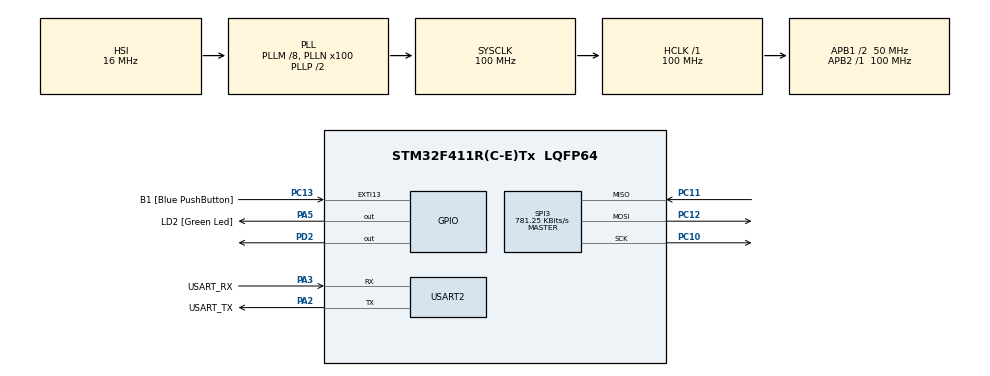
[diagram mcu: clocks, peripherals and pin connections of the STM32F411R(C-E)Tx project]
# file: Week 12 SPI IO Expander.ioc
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Mcu.Family=STM32F4
Mcu.Name=STM32F411R(C-E)Tx
Mcu.Package=LQFP64
NVIC.PriorityGroup=NVIC_PRIORITYGROUP_0
NVIC.SPI3_IRQn=true\:0\:0\:false\:false\:true\:true\:true\:true
PA13.GPIO_Label=TMS
PA13.Mode=Serial_Wire
PA13.Signal=SYS_JTMS-SWDIO
PA14.GPIO_Label=TCK
PA14.Mode=Serial_Wire
PA14.Signal=SYS_JTCK-SWCLK
PA2.GPIO_Label=USART_TX
PA2.Mode=Asynchronous
PA2.Signal=USART2_TX
PA3.GPIO_Label=USART_RX
PA3.Mode=Asynchronous
PA3.Signal=USART2_RX
PA5.GPIO_Label=LD2 [Green Led]
PA5.Signal=GPIO_Output
PB3.GPIO_Label=SWO
PB3.Signal=SYS_JTDO-SWO
PC10.Mode=Full_Duplex_Master
PC10.Signal=SPI3_SCK
PC11.Mode=Full_Duplex_Master
PC11.Signal=SPI3_MISO
PC12.Mode=Full_Duplex_Master
PC12.Signal=SPI3_MOSI
PC13-ANTI_TAMP.GPIO_Label=B1 [Blue PushButton]
PC13-ANTI_TAMP.GPIO_ModeDefaultEXTI=GPIO_MODE_IT_FALLING
PC13-ANTI_TAMP.Signal=GPXTI13
PC14-OSC32_IN.Mode=LSE-External-Oscillator
PC14-OSC32_IN.Signal=RCC_OSC32_IN
PC15-OSC32_OUT.Mode=LSE-External-Oscillator
PC15-OSC32_OUT.Signal=RCC_OSC32_OUT
PD2.Signal=GPIO_Output
PH0\ -\ OSC_IN.Mode=HSE-External-Clock-Source
PH0\ -\ OSC_IN.Signal=RCC_OSC_IN
PH1\ -\ OSC_OUT.Mode=HSE-External-Clock-Source
PH1\ -\ OSC_OUT.Signal=RCC_OSC_OUT
ProjectManager.HeapSize=0x200
ProjectManager.StackSize=0x400
ProjectManager.TargetToolchain=STM32CubeIDE
RCC.48MHZClocksFreq_Value=50000000
RCC.AHBFreq_Value=100000000
RCC.APB1CLKDivider=RCC_HCLK_DIV2
RCC.APB1Freq_Value=50000000
RCC.APB1TimFreq_Value=100000000
RCC.APB2Freq_Value=100000000
RCC.APB2TimFreq_Value=100000000
RCC.CortexFreq_Value=100000000
RCC.FLatency-AdvancedSettings=FLASH_LATENCY_3
RCC.HCLKFreq_Value=100000000
RCC.HSE_VALUE=8000000
RCC.HSI_VALUE=16000000
RCC.PLLM=8
RCC.PLLN=100
RCC.SYSCLKFreq_VALUE=100000000
RCC.SYSCLKSource=RCC_SYSCLKSOURCE_PLLCLK
RCC.VCOOutputFreq_Value=200000000
SPI3.BaudRatePrescaler=SPI_BAUDRATEPRESCALER_64
SPI3.CLKPhase=SPI_PHASE_2EDGE
SPI3.CLKPolarity=SPI_POLARITY_HIGH
SPI3.CalculateBaudRate=781.25 KBits/s
SPI3.Direction=SPI_DIRECTION_2LINES
SPI3.Mode=SPI_MODE_MASTER
SPI3.VirtualType=VM_MASTER
USART2.VirtualMode=VM_ASYNC
board=NUCLEO-F411RE

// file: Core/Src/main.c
/* USER CODE BEGIN Header */
/**
 ******************************************************************************
 * @file           : main.c
 * @brief          : Main program body
 ******************************************************************************
 * @attention
 *
 * Copyright (c) 2023 STMicroelectronics.
 * All rights reserved.
 *
 * This software is licensed under terms that can be found in the LICENSE file
 * in the root directory of this software component.
 * If no LICENSE file comes with this software, it is provided AS-IS.
 *
 ******************************************************************************
 */
/* USER CODE END Header */
#include "main.h"

SPI_HandleTypeDef hspi3;

UART_HandleTypeDef huart2;

/* USER CODE BEGIN PV */

uint8_t SPIRx[10];
uint8_t SPITx[10];

/* USER CODE END PV */

void SystemClock_Config(void);
static void MX_GPIO_Init(void);
static void MX_USART2_UART_Init(void);
static void MX_SPI3_Init(void);
/* USER CODE BEGIN PFP */

void SPITxRx_Setup();
void SPITxRx_readIO_A();
void SetOutputGPIOB();
void WriteGPIOB();

/* USER CODE END PFP */

int main(void) {

	/* MCU Configuration--------------------------------------------------------*/

	/* Reset of all peripherals, Initializes the Flash interface and the Systick. */
	HAL_Init();

	/* Configure the system clock */
	SystemClock_Config();

	/* Initialize all configured peripherals */
	MX_GPIO_Init();
	MX_USART2_UART_Init();
	MX_SPI3_Init();
	/* USER CODE BEGIN 2 */

	SPITxRx_Setup();
	SetOutputGPIOB();

	/* USER CODE END 2 */

	/* Infinite loop */
	/* USER CODE BEGIN WHILE */
	while (1) {
		static uint32_t timestamp = 0;
		if (HAL_GetTick() >= timestamp) {
			timestamp = HAL_GetTick() + 10;
			static uint8_t cmd = 0;
			cmd++;
			cmd = cmd % 3;
			switch (cmd) {
			case 0:
				SPITxRx_readIO_A();
				break;
			case 1:
				WriteGPIOB();
				break;
			case 2:
				SetOutputGPIOB();
				break;
			}
		}

		/* USER CODE END WHILE */

	}
}

void SystemClock_Config(void) {
	RCC_OscInitTypeDef RCC_OscInitStruct = { 0 };
	RCC_ClkInitTypeDef RCC_ClkInitStruct = { 0 };

	/** Configure the main internal regulator output voltage
	 */
	__HAL_RCC_PWR_CLK_ENABLE();
	__HAL_PWR_VOLTAGESCALING_CONFIG(PWR_REGULATOR_VOLTAGE_SCALE1);

	/** Initializes the RCC Oscillators according to the specified parameters
	 * in the RCC_OscInitTypeDef structure.
	 */
	RCC_OscInitStruct.OscillatorType = RCC_OSCILLATORTYPE_HSI;
	RCC_OscInitStruct.HSIState = RCC_HSI_ON;
	RCC_OscInitStruct.HSICalibrationValue = RCC_HSICALIBRATION_DEFAULT;
	RCC_OscInitStruct.PLL.PLLState = RCC_PLL_ON;
	RCC_OscInitStruct.PLL.PLLSource = RCC_PLLSOURCE_HSI;
	RCC_OscInitStruct.PLL.PLLM = 8;
	RCC_OscInitStruct.PLL.PLLN = 100;
	RCC_OscInitStruct.PLL.PLLP = RCC_PLLP_DIV2;
	RCC_OscInitStruct.PLL.PLLQ = 4;
	if (HAL_RCC_OscConfig(&RCC_OscInitStruct) != HAL_OK) {
		Error_Handler();
	}

	/** Initializes the CPU, AHB and APB buses clocks
	 */
	RCC_ClkInitStruct.ClockType = RCC_CLOCKTYPE_HCLK | RCC_CLOCKTYPE_SYSCLK | RCC_CLOCKTYPE_PCLK1 | RCC_CLOCKTYPE_PCLK2;
	RCC_ClkInitStruct.SYSCLKSource = RCC_SYSCLKSOURCE_PLLCLK;
	RCC_ClkInitStruct.AHBCLKDivider = RCC_SYSCLK_DIV1;
	RCC_ClkInitStruct.APB1CLKDivider = RCC_HCLK_DIV2;
	RCC_ClkInitStruct.APB2CLKDivider = RCC_HCLK_DIV1;

	if (HAL_RCC_ClockConfig(&RCC_ClkInitStruct, FLASH_LATENCY_3) != HAL_OK) {
		Error_Handler();
	}
}

static void MX_SPI3_Init(void) {

	/* SPI3 parameter configuration*/
	hspi3.Instance = SPI3;
	hspi3.Init.Mode = SPI_MODE_MASTER;
	hspi3.Init.Direction = SPI_DIRECTION_2LINES;
	hspi3.Init.DataSize = SPI_DATASIZE_8BIT;
	hspi3.Init.CLKPolarity = SPI_POLARITY_HIGH;
	hspi3.Init.CLKPhase = SPI_PHASE_2EDGE;
	hspi3.Init.NSS = SPI_NSS_SOFT;
	hspi3.Init.BaudRatePrescaler = SPI_BAUDRATEPRESCALER_64;
	hspi3.Init.FirstBit = SPI_FIRSTBIT_MSB;
	hspi3.Init.TIMode = SPI_TIMODE_DISABLE;
	hspi3.Init.CRCCalculation = SPI_CRCCALCULATION_DISABLE;
	hspi3.Init.CRCPolynomial = 10;
	if (HAL_SPI_Init(&hspi3) != HAL_OK) {
		Error_Handler();
	}

}

static void MX_USART2_UART_Init(void) {

	huart2.Instance = USART2;
	huart2.Init.BaudRate = 115200;
	huart2.Init.WordLength = UART_WORDLENGTH_8B;
	huart2.Init.StopBits = UART_STOPBITS_1;
	huart2.Init.Parity = UART_PARITY_NONE;
	huart2.Init.Mode = UART_MODE_TX_RX;
	huart2.Init.HwFlowCtl = UART_HWCONTROL_NONE;
	huart2.Init.OverSampling = UART_OVERSAMPLING_16;
	if (HAL_UART_Init(&huart2) != HAL_OK) {
		Error_Handler();
	}

}

static void MX_GPIO_Init(void) {
	GPIO_InitTypeDef GPIO_InitStruct = { 0 };

	/* GPIO Ports Clock Enable */
	__HAL_RCC_GPIOC_CLK_ENABLE();
	__HAL_RCC_GPIOH_CLK_ENABLE();
	__HAL_RCC_GPIOA_CLK_ENABLE();
	__HAL_RCC_GPIOD_CLK_ENABLE();
	__HAL_RCC_GPIOB_CLK_ENABLE();

	/*Configure GPIO pin Output Level */
	HAL_GPIO_WritePin(LD2_GPIO_Port, LD2_Pin, GPIO_PIN_RESET);

	/*Configure GPIO pin Output Level */
	HAL_GPIO_WritePin(GPIOD, GPIO_PIN_2, GPIO_PIN_RESET);

	/*Configure GPIO pin : B1_Pin */
	GPIO_InitStruct.Pin = B1_Pin;
	GPIO_InitStruct.Mode = GPIO_MODE_IT_FALLING;
	GPIO_InitStruct.Pull = GPIO_NOPULL;
	HAL_GPIO_Init(B1_GPIO_Port, &GPIO_InitStruct);

	/*Configure GPIO pin : LD2_Pin */
	GPIO_InitStruct.Pin = LD2_Pin;
	GPIO_InitStruct.Mode = GPIO_MODE_OUTPUT_PP;
	GPIO_InitStruct.Pull = GPIO_NOPULL;
	GPIO_InitStruct.Speed = GPIO_SPEED_FREQ_LOW;
	HAL_GPIO_Init(LD2_GPIO_Port, &GPIO_InitStruct);

	/*Configure GPIO pin : PD2 */
	GPIO_InitStruct.Pin = GPIO_PIN_2;
	GPIO_InitStruct.Mode = GPIO_MODE_OUTPUT_PP;
	GPIO_InitStruct.Pull = GPIO_NOPULL;
	GPIO_InitStruct.Speed = GPIO_SPEED_FREQ_LOW;
	HAL_GPIO_Init(GPIOD, &GPIO_InitStruct);

}

/* USER CODE BEGIN 4 */

void SPITxRx_Setup() {
	//CS pulse
	HAL_GPIO_WritePin(GPIOD, GPIO_PIN_2, 0); // CS select
	HAL_Delay(1);
	HAL_GPIO_WritePin(GPIOD, GPIO_PIN_2, 1); // CS deselect
	HAL_Delay(1);
}

void SPITxRx_readIO_A() {
	if (HAL_GPIO_ReadPin(GPIOD, GPIO_PIN_2)) {
		HAL_GPIO_WritePin(GPIOD, GPIO_PIN_2, 0); // CS select
		SPITx[0] = 0b01000001;
		SPITx[1] = 0x12;
		SPITx[2] = 0;
		HAL_SPI_TransmitReceive_IT(&hspi3, SPITx, SPIRx, 3);
	}
}

void SetOutputGPIOB() {
	if (HAL_GPIO_ReadPin(GPIOD, GPIO_PIN_2)) {
		HAL_GPIO_WritePin(GPIOD, GPIO_PIN_2, GPIO_PIN_RESET); // CS select
		SPITx[0] = 0b01000000;
		SPITx[1] = 0x01;
		SPITx[2] = 0b00000000;
		HAL_SPI_Transmit_IT(&hspi3, SPITx, 3);
	}
}

void WriteGPIOB() {
	if (HAL_GPIO_ReadPin(GPIOD, GPIO_PIN_2)) {
		HAL_GPIO_WritePin(GPIOD, GPIO_PIN_2, GPIO_PIN_RESET); // CS select
		SPITx[0] = 0b01000000;
		SPITx[1] = 0x15;
		SPITx[2] = 0b00000011;
		HAL_SPI_Transmit_IT(&hspi3, SPITx, 3);
	}
}

void HAL_SPI_TxRxCpltCallback(SPI_HandleTypeDef *hspi) {
	if (hspi == &hspi3) {
		HAL_GPIO_WritePin(GPIOD, GPIO_PIN_2, GPIO_PIN_SET); // CS deselect
	}
}

void HAL_SPI_TxCpltCallback(SPI_HandleTypeDef *hspi) {
	if (hspi == &hspi3) {
		HAL_GPIO_WritePin(GPIOD, GPIO_PIN_2, GPIO_PIN_SET); // CS deselect
	}
}

/* USER CODE END 4 */

void Error_Handler(void) {
	__disable_irq();
	while (1) {
	}
}
